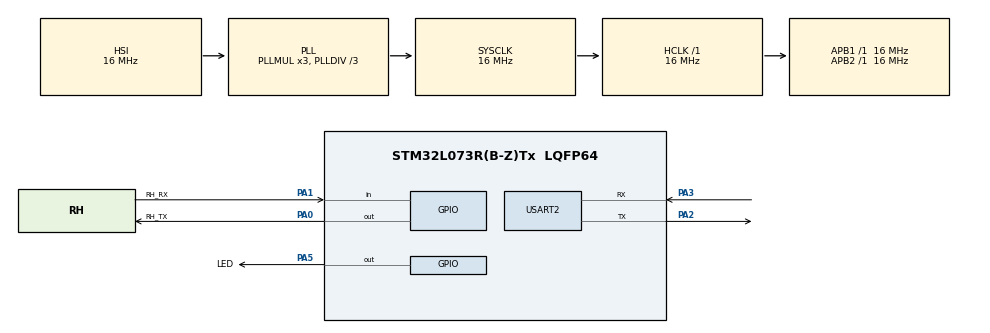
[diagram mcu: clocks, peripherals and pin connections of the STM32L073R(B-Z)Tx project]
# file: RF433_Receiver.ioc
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Mcu.Family=STM32L0
Mcu.Name=STM32L073R(B-Z)Tx
Mcu.Package=LQFP64
NVIC.TIM2_IRQn=true\:0\:0\:false\:false\:true\:true\:true
NVIC.USART2_IRQn=true\:0\:0\:false\:false\:true\:true\:true
PA0.GPIO_Label=RH_TX
PA0.Signal=GPIO_Output
PA1.GPIO_Label=RH_RX
PA1.Signal=GPIO_Input
PA13.Mode=Serial_Wire
PA13.Signal=SYS_SWDIO
PA14.Mode=Serial_Wire
PA14.Signal=SYS_SWCLK
PA2.Mode=Asynchronous
PA2.Signal=USART2_TX
PA3.Mode=Asynchronous
PA3.Signal=USART2_RX
PA5.GPIO_Label=LED
PA5.Signal=GPIO_Output
PC14-OSC32_IN.Mode=LSE-External-Oscillator
PC14-OSC32_IN.Signal=RCC_OSC32_IN
PC15-OSC32_OUT.Mode=LSE-External-Oscillator
PC15-OSC32_OUT.Signal=RCC_OSC32_OUT
ProjectManager.HeapSize=0x200
ProjectManager.StackSize=0x400
ProjectManager.TargetToolchain=STM32CubeIDE
RCC.AHBFreq_Value=16000000
RCC.APB1Freq_Value=16000000
RCC.APB1TimFreq_Value=16000000
RCC.APB2Freq_Value=16000000
RCC.APB2TimFreq_Value=16000000
RCC.HCLKFreq_Value=16000000
RCC.HSE_VALUE=8000000
RCC.HSI16_VALUE=16000000
RCC.HSI48_VALUE=48000000
RCC.HSI_VALUE=16000000
RCC.MSI_VALUE=2097000
RCC.PLLDIV=RCC_PLLDIV_3
RCC.SYSCLKFreq_VALUE=16000000
RCC.SYSCLKSource=RCC_SYSCLKSOURCE_PLLCLK
RCC.VCOOutputFreq_Value=48000000
TIM2.Period=1
TIM2.Prescaler=500
USART2.VirtualMode-Asynchronous=VM_ASYNC
VP_TIM2_VS_ClockSourceINT.Mode=Internal
board=custom

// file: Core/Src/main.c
/* USER CODE BEGIN Header */
/**
  ******************************************************************************
  * @file           : main.c
  * @brief          : Main program body
  ******************************************************************************
  * @attention
  *
  * Copyright (c) 2023 STMicroelectronics.
  * All rights reserved.
  *
  * This software is licensed under terms that can be found in the LICENSE file
  * in the root directory of this software component.
  * If no LICENSE file comes with this software, it is provided AS-IS.
  *
  ******************************************************************************
  */
/* USER CODE END Header */
#include "main.h"

/* USER CODE BEGIN Includes */
#include "stdio.h"
#include "RH_ASK.h"

/* USER CODE END Includes */

TIM_HandleTypeDef htim2;

UART_HandleTypeDef huart2;

/* USER CODE BEGIN PV */

volatile uint32_t g_timerCount = 0;

uint32_t Count = 0;
uint8_t len=0, aMsgBuf[50] = {0};

uint8_t buf[RH_ASK_MAX_MESSAGE_LEN] = {0};
uint8_t buflen = 0;

/* USER CODE END PV */

void SystemClock_Config(void);
static void MX_GPIO_Init(void);
static void MX_USART2_UART_Init(void);
static void MX_TIM2_Init(void);

int main(void)
{

  /* MCU Configuration--------------------------------------------------------*/

  /* Reset of all peripherals, Initializes the Flash interface and the Systick. */
  HAL_Init();

  /* Configure the system clock */
  SystemClock_Config();

  /* Initialize all configured peripherals */
  MX_GPIO_Init();
  MX_USART2_UART_Init();
  MX_TIM2_Init();
  /* USER CODE BEGIN 2 */

  HAL_UART_Transmit(&huart2, (uint8_t *)"/--------------------------------------------------------------/\r", 65, 1000);
  HAL_UART_Transmit(&huart2, (uint8_t *)"               RF 433Mhz Receiver Test Application              \r", 65, 1000);
  HAL_UART_Transmit(&huart2, (uint8_t *)"/--------------------------------------------------------------/\r", 65, 1000);

  RH_ASK_Initialization();

  /* USER CODE END 2 */

  /* Infinite loop */
  while (1)
  {

    /* USER CODE BEGIN 3 */

	  RH_send((uint8_t *)"Hello World\n", 12);
	  HAL_Delay(2000);

//	  buflen = RH_ASK_MAX_MESSAGE_LEN;
//	  if(RH_recv(buf, &buflen) == True) {
//
//		  HAL_UART_Transmit(&huart2, (uint8_t *)"rxBuf :", 7, 1000);
//		  HAL_UART_Transmit(&huart2, (uint8_t *)buf, buflen, 1000);
//	  }
//	  HAL_Delay(1);
  }

  /* USER CODE END 3 */
}

void SystemClock_Config(void)
{
  RCC_OscInitTypeDef RCC_OscInitStruct = {0};
  RCC_ClkInitTypeDef RCC_ClkInitStruct = {0};
  RCC_PeriphCLKInitTypeDef PeriphClkInit = {0};

  /** Configure the main internal regulator output voltage
  */
  __HAL_PWR_VOLTAGESCALING_CONFIG(PWR_REGULATOR_VOLTAGE_SCALE1);
  /** Initializes the RCC Oscillators according to the specified parameters
  * in the RCC_OscInitTypeDef structure.
  */
  RCC_OscInitStruct.OscillatorType = RCC_OSCILLATORTYPE_HSI;
  RCC_OscInitStruct.HSIState = RCC_HSI_ON;
  RCC_OscInitStruct.HSICalibrationValue = RCC_HSICALIBRATION_DEFAULT;
  RCC_OscInitStruct.PLL.PLLState = RCC_PLL_ON;
  RCC_OscInitStruct.PLL.PLLSource = RCC_PLLSOURCE_HSI;
  RCC_OscInitStruct.PLL.PLLMUL = RCC_PLLMUL_3;
  RCC_OscInitStruct.PLL.PLLDIV = RCC_PLLDIV_3;
  if (HAL_RCC_OscConfig(&RCC_OscInitStruct) != HAL_OK)
  {
    Error_Handler();
  }
  /** Initializes the CPU, AHB and APB buses clocks
  */
  RCC_ClkInitStruct.ClockType = RCC_CLOCKTYPE_HCLK|RCC_CLOCKTYPE_SYSCLK
                              |RCC_CLOCKTYPE_PCLK1|RCC_CLOCKTYPE_PCLK2;
  RCC_ClkInitStruct.SYSCLKSource = RCC_SYSCLKSOURCE_PLLCLK;
  RCC_ClkInitStruct.AHBCLKDivider = RCC_SYSCLK_DIV1;
  RCC_ClkInitStruct.APB1CLKDivider = RCC_HCLK_DIV1;
  RCC_ClkInitStruct.APB2CLKDivider = RCC_HCLK_DIV1;

  if (HAL_RCC_ClockConfig(&RCC_ClkInitStruct, FLASH_LATENCY_0) != HAL_OK)
  {
    Error_Handler();
  }
  PeriphClkInit.PeriphClockSelection = RCC_PERIPHCLK_USART2;
  PeriphClkInit.Usart2ClockSelection = RCC_USART2CLKSOURCE_PCLK1;
  if (HAL_RCCEx_PeriphCLKConfig(&PeriphClkInit) != HAL_OK)
  {
    Error_Handler();
  }
}

static void MX_TIM2_Init(void)
{

  TIM_ClockConfigTypeDef sClockSourceConfig = {0};
  TIM_MasterConfigTypeDef sMasterConfig = {0};

  htim2.Instance = TIM2;
  htim2.Init.Prescaler = 500;
  htim2.Init.CounterMode = TIM_COUNTERMODE_UP;
  htim2.Init.Period = 1;
  htim2.Init.ClockDivision = TIM_CLOCKDIVISION_DIV1;
  htim2.Init.AutoReloadPreload = TIM_AUTORELOAD_PRELOAD_DISABLE;
  if (HAL_TIM_Base_Init(&htim2) != HAL_OK)
  {
    Error_Handler();
  }
  sClockSourceConfig.ClockSource = TIM_CLOCKSOURCE_INTERNAL;
  if (HAL_TIM_ConfigClockSource(&htim2, &sClockSourceConfig) != HAL_OK)
  {
    Error_Handler();
  }
  sMasterConfig.MasterOutputTrigger = TIM_TRGO_RESET;
  sMasterConfig.MasterSlaveMode = TIM_MASTERSLAVEMODE_DISABLE;
  if (HAL_TIMEx_MasterConfigSynchronization(&htim2, &sMasterConfig) != HAL_OK)
  {
    Error_Handler();
  }
  /* USER CODE BEGIN TIM2_Init 2 */

  HAL_TIM_Base_Start_IT(&htim2);

  /* USER CODE END TIM2_Init 2 */

}

static void MX_USART2_UART_Init(void)
{

  huart2.Instance = USART2;
  huart2.Init.BaudRate = 115200;
  huart2.Init.WordLength = UART_WORDLENGTH_8B;
  huart2.Init.StopBits = UART_STOPBITS_1;
  huart2.Init.Parity = UART_PARITY_NONE;
  huart2.Init.Mode = UART_MODE_TX_RX;
  huart2.Init.HwFlowCtl = UART_HWCONTROL_NONE;
  huart2.Init.OverSampling = UART_OVERSAMPLING_16;
  huart2.Init.OneBitSampling = UART_ONE_BIT_SAMPLE_DISABLE;
  huart2.AdvancedInit.AdvFeatureInit = UART_ADVFEATURE_NO_INIT;
  if (HAL_UART_Init(&huart2) != HAL_OK)
  {
    Error_Handler();
  }

}

static void MX_GPIO_Init(void)
{
  GPIO_InitTypeDef GPIO_InitStruct = {0};

  /* GPIO Ports Clock Enable */
  __HAL_RCC_GPIOC_CLK_ENABLE();
  __HAL_RCC_GPIOA_CLK_ENABLE();

  /*Configure GPIO pin Output Level */
  HAL_GPIO_WritePin(GPIOA, RH_TX_Pin|LED_Pin, GPIO_PIN_RESET);

  /*Configure GPIO pins : RH_TX_Pin LED_Pin */
  GPIO_InitStruct.Pin = RH_TX_Pin|LED_Pin;
  GPIO_InitStruct.Mode = GPIO_MODE_OUTPUT_PP;
  GPIO_InitStruct.Pull = GPIO_NOPULL;
  GPIO_InitStruct.Speed = GPIO_SPEED_FREQ_LOW;
  HAL_GPIO_Init(GPIOA, &GPIO_InitStruct);

  /*Configure GPIO pin : RH_RX_Pin */
  GPIO_InitStruct.Pin = RH_RX_Pin;
  GPIO_InitStruct.Mode = GPIO_MODE_INPUT;
  GPIO_InitStruct.Pull = GPIO_NOPULL;
  HAL_GPIO_Init(RH_RX_GPIO_Port, &GPIO_InitStruct);

}

/* USER CODE BEGIN 4 */

/**
  * @brief  Period elapsed callback in non-blocking mode
  * @param  htim TIM handle
  * @retval None
  */
void HAL_TIM_PeriodElapsedCallback(TIM_HandleTypeDef *htim)
{
	RH_HandleTimerInterrupt_16KHz();
//	g_timerCount++;
}

/* USER CODE END 4 */

void Error_Handler(void)
{
  __disable_irq();
  while (1)
  {
  }
}
